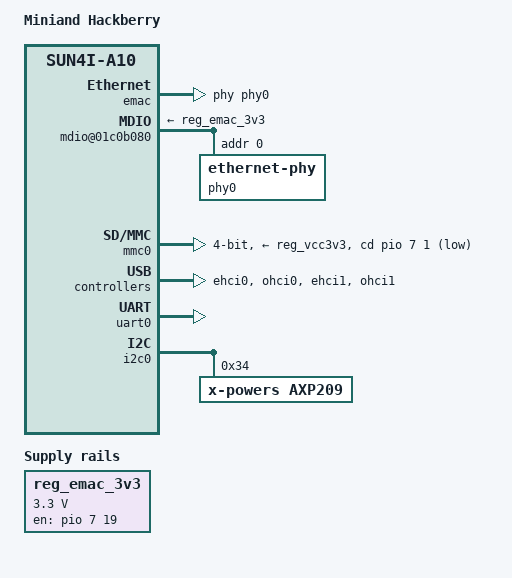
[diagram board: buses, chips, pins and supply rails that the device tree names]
/*
 * Copyright 2012 Maxime Ripard
 *
 * Maxime Ripard <maxime.ripard@free-electrons.com>
 *
 * The code contained herein is licensed under the GNU General Public
 * License. You may obtain a copy of the GNU General Public License
 * Version 2 or later at the following locations:
 *
 * http://www.opensource.org/licenses/gpl-license.html
 * http://www.gnu.org/copyleft/gpl.html
 */

/dts-v1/;
/include/ "sun4i-a10.dtsi"
/include/ "sunxi-common-regulators.dtsi"

/ {
	model = "Miniand Hackberry";
	compatible = "miniand,hackberry", "allwinner,sun4i-a10";

	soc@01c00000 {
		emac: ethernet@01c0b000 {
			pinctrl-names = "default";
			pinctrl-0 = <&emac_pins_a>;
			phy = <&phy0>;
			status = "okay";
		};

		mdio@01c0b080 {
			phy-supply = <&reg_emac_3v3>;
			status = "okay";

			phy0: ethernet-phy@0 {
				reg = <0>;
			};
		};

		mmc0: mmc@01c0f000 {
			pinctrl-names = "default";
			pinctrl-0 = <&mmc0_pins_a>, <&mmc0_cd_pin_reference_design>;
			vmmc-supply = <&reg_vcc3v3>;
			bus-width = <4>;
			cd-gpios = <&pio 7 1 0>; /* PH1 */
			cd-inverted;
			status = "okay";
		};

		usbphy: phy@01c13400 {
			usb1_vbus-supply = <&reg_usb1_vbus>;
			usb2_vbus-supply = <&reg_usb2_vbus>;
			status = "okay";
		};

		ehci0: usb@01c14000 {
			status = "okay";
		};

		ohci0: usb@01c14400 {
			status = "okay";
		};

		ehci1: usb@01c1c000 {
			status = "okay";
		};

		ohci1: usb@01c1c400 {
			status = "okay";
		};

		pio: pinctrl@01c20800 {
			pinctrl-names = "default";
			pinctrl-0 = <&hackberry_hogs>;

			hackberry_hogs: hogs@0 {
				allwinner,pins = "PH19";
				allwinner,function = "gpio_out";
				allwinner,drive = <0>;
				allwinner,pull = <0>;
			};

			usb2_vbus_pin_hackberry: usb2_vbus_pin@0 {
					allwinner,pins = "PH12";
					allwinner,function = "gpio_out";
					allwinner,drive = <0>;
					allwinner,pull = <0>;
			};
		};

		ir0: ir@01c21800 {
			pinctrl-names = "default";
			pinctrl-0 = <&ir0_pins_a>;
			status = "okay";
		};

		uart0: serial@01c28000 {
			pinctrl-names = "default";
			pinctrl-0 = <&uart0_pins_a>;
			status = "okay";
		};

		i2c0: i2c@01c2ac00 {
			pinctrl-names = "default";
			pinctrl-0 = <&i2c0_pins_a>;
			status = "okay";

			axp209: pmic@34 {
				compatible = "x-powers,axp209";
				reg = <0x34>;
				interrupts = <0>;

				interrupt-controller;
				#interrupt-cells = <1>;
			};
		};
	};

	reg_emac_3v3: emac-3v3 {
		compatible = "regulator-fixed";
		regulator-name = "emac-3v3";
		regulator-min-microvolt = <3300000>;
		regulator-max-microvolt = <3300000>;
		enable-active-high;
		gpio = <&pio 7 19 0>;
	};

	reg_usb1_vbus: usb1-vbus {
		status = "okay";
	};

	reg_usb2_vbus: usb2-vbus {
		pinctrl-0 = <&usb2_vbus_pin_hackberry>;
		gpio = <&pio 7 12 0>;
		status = "okay";
	};
};
